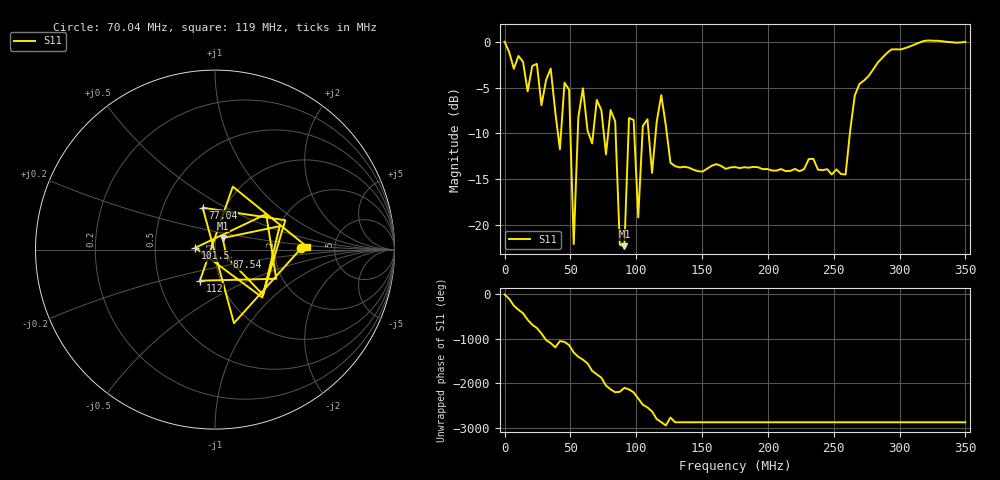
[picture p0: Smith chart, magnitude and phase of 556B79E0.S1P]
!File created by NanoVNA
# Hz S RI R 50
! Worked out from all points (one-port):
!   101 points, 50 kHz to 350 MHz, reference 50 ohm
!   lowest |S11| = -22.3 dB at 91.04 MHz (marker M1), VSWR 1.17, Z = 53.9 + j6.96 ohm
!   |S11| at or under -10 dB: 40.56 MHz to 42.88 MHz (2.32 MHz wide, 5.56 % of centre); 84.38 MHz to 94.12 MHz (9.736 MHz wide, 10.9 % of centre); 123.2 MHz to 262.3 MHz (139 MHz wide, 72.1 % of centre) (the widest 3 of 8)
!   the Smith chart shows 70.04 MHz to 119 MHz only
!   S11 on the Smith chart (normalised r, x): 70.04 MHz: 2.86, +0.07; 77.04 MHz: 0.79, +0.39; 87.54 MHz: 1.14, -0.10; 101.5 MHz: 0.80, +0.02; 112 MHz: 0.80, -0.29; 119 MHz: 3.10, +0.14
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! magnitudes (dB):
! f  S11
! 50 kHz  0.0
! 28.05 MHz  -6.9
! 35.05 MHz  -2.9
! 42.04 MHz  -11.7
! 45.54 MHz  -4.5
! 49.04 MHz  -5.2
! 52.54 MHz  -22.1
! 56.04 MHz  -8.2
! 59.54 MHz  -5.1
! 66.54 MHz  -11.1
! 70.04 MHz  -6.3
! 77.04 MHz  -12.3
! 84.04 MHz  -8.7
! 87.54 MHz  -22.1
! 91.04 MHz  -22.3
! 94.54 MHz  -8.3
! 98.04 MHz  -8.5
! 101.5 MHz  -19.2
! 105 MHz  -9.2
! 112 MHz  -14.3
! 119 MHz  -5.8
! 133 MHz  -13.7
! 175 MHz  -13.7
! 220.5 MHz  -13.9
! 259 MHz  -14.5
! 262.5 MHz  -9.7
! 308 MHz  -0.5
! 350 MHz  0.0
